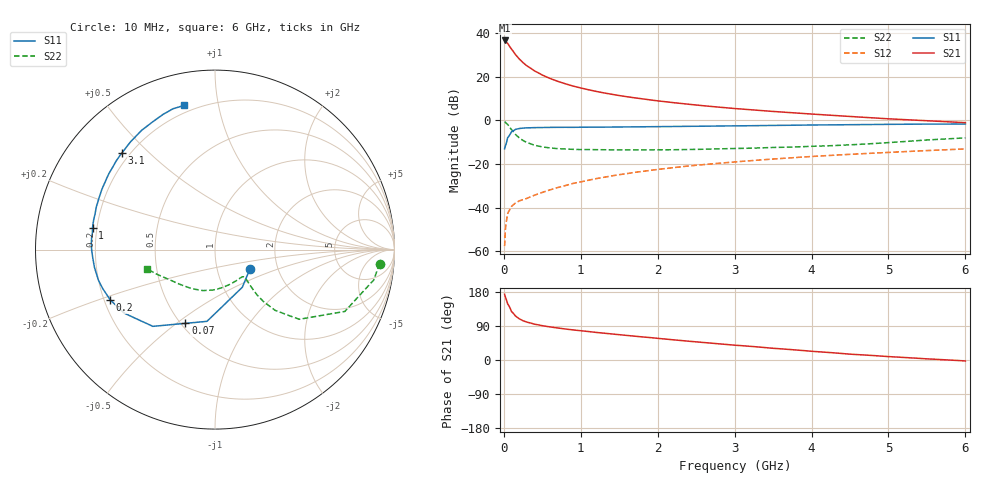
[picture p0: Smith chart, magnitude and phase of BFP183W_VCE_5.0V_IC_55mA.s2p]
! Infineon Technologies  Discrete & RF Semiconductors
! BFP183W
! VCE =  5.0 V,  IC =  55 mA
! Common Emitter S-Parameters:  Jan 2017
# GHz  S  MA  R  50
!  f  S11  S21  S12  S22
! GHz  MAG  ANG  MAG  ANG  MAG  ANG  MAG  ANG
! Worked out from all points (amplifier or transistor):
!   77 points, 10 MHz to 6 GHz, reference 50 ohm
!   highest |S21| = 36.6 dB at 10 MHz (marker M1)
!   |S21| within 3 dB of that: start of sweep to 80.61 MHz
!   unconditionally stable (mu >= 1): 512.2 MHz to 3.447 GHz
!   at 130 MHz: K = 0.46, MSG = 34.9 dB, |S12| = -38.6 dB
!   at 2.2 GHz: K = 1.10, MAG = 13.0 dB, |S12| = -21.7 dB
!   at 6 GHz: K = 0.86, MSG = 6.0 dB, |S12| = -13.1 dB
!   S11 on the Smith chart (normalised r, x): 10 MHz: 1.44, -0.32; 70 MHz: 0.53, -0.54; 200 MHz: 0.22, -0.22; 1 GHz: 0.18, +0.09; 3.1 GHz: 0.17, +0.42; 6 GHz: 0.16, +0.79
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0.01  0.2224 -28.7  67.66 173.5  0.0013 97.0  0.92 -4.9
0.02  0.2591 -54.0  66 166.1  0.0031 77.8  0.9008 -10.8
0.05  0.4022 -96.4  57.91 148.1  0.0072 66.3  0.8011 -25.5
0.07  0.4429 -111.9  51.14 141.4  0.0085 61.4  0.7195 -30.2
0.1  0.5502 -129.0  42.8 127.7  0.0106 56.4  0.6092 -39.6
0.15  0.6173 -145.0  32.35 116.3  0.0126 48.0  0.4762 -45.3
0.2  0.6473 -154.3  25.51 108.8  0.0142 52.0  0.3961 -47.0
0.25  0.6623 -160.9  20.94 103.6  0.0152 51.1  0.3438 -47.1
0.3  0.6716 -165.4  17.69 99.9  0.0162 52.5  0.3087 -46.4
0.4  0.679 -171.7  13.52 94.4  0.0192 56.1  0.2673 -45.0
0.5  0.6826 -176.2  10.88 90.6  0.0222 59.6  0.2454 -43.8
0.6  0.6872 -179.7  9.118 87.3  0.0254 62.0  0.2325 -43.4
0.7  0.6898 177.3  7.828 84.5  0.0287 64.6  0.2239 -43.1
0.8  0.6907 174.6  6.866 81.8  0.0319 66.1  0.2194 -43.6
1  0.6932 169.9  5.511 77.2  0.0387 66.6  0.2132 -45.6
1.1  0.6948 167.8  5.016 75.1  0.0422 67.9  0.2133 -46.8
1.5  0.7028 160.1  3.691 66.8  0.0566 68.1  0.2097 -53.7
2.1  0.7175 149.2  2.665 55.3  0.0783 66.8  0.2106 -67.9
3.1  0.7479 133.8  1.806 37.7  0.1146 61.3  0.2272 -96.1
4.1  0.7821 120.4  1.356 21.6  0.1513 54.7  0.2559 -123.5
5.1  0.8091 110.1  1.059 7.9  0.1871 47.6  0.3164 -149.8
6  0.8214 102.2  0.882 -2.5  0.2206 40.9  0.3952 -164.4
